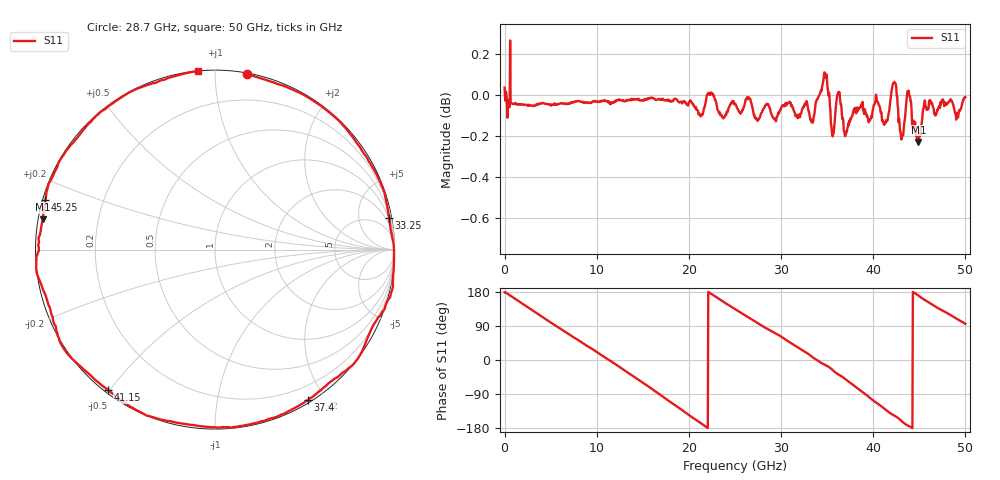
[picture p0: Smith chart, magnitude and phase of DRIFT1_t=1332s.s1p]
!Created with skrf (http://scikit-rf.org).
# Hz S RI R 50.0
!freq ReS11 ImS11
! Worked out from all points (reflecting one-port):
!   1001 points, 300 kHz to 50 GHz, reference 50 ohm
!   lowest |S11| = -0.2 dB at 44.9 GHz (marker M1), VSWR 75.74, Z = 0.665 + j4.38 ohm
!   phase of S11 starts at 179 deg and turns -803 deg over the sweep
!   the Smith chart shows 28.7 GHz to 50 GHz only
!   S11 on the Smith chart (normalised r, x): 28.7 GHz: 0.01, +1.20; 33.25 GHz: 1, +11; 37.4 GHz: 0.03, -1.79; 41.15 GHz: 0.01, -0.50; 45.25 GHz: 0.01, +0.14; 50 GHz: 0.00, +0.91
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300000  -1.004 0.0246
1.70029e9  -0.8804 0.4632
3.550279e9  -0.5295 0.842
6.250262e9  0.1823 0.9783
7.900253e9  0.5893 0.8035
9.750242e9  0.9031 0.421
1.250022e10  0.9431 -0.324
1.400022e10  0.7281 -0.6819
1.58502e10  0.2751 -0.9595
1.72502e10  -0.1385 -0.9873
1.875019e10  -0.5513 -0.8306
2.025018e10  -0.8608 -0.5014
2.195017e10  -0.9991 -0.0383
2.500015e10  -0.695 0.7122
2.670014e10  -0.3222 0.9431
2.870013e10  0.1774 0.9776
3.125011e10  0.7378 0.6642
3.32501e10  0.9703 0.1774
3.505009e10  0.9637 -0.2803
3.740008e10  0.5185 -0.8381
3.750008e10  0.4899 -0.8563
3.920006e10  -0.0177 -0.9899
4.115005e10  -0.5951 -0.7831
4.375004e10  -0.9949 -0.121
4.490003e10  -0.9591 0.1694
4.525003e10  -0.9449 0.2749
4.735002e10  -0.673 0.7325
5e10  -0.0941 0.9942
